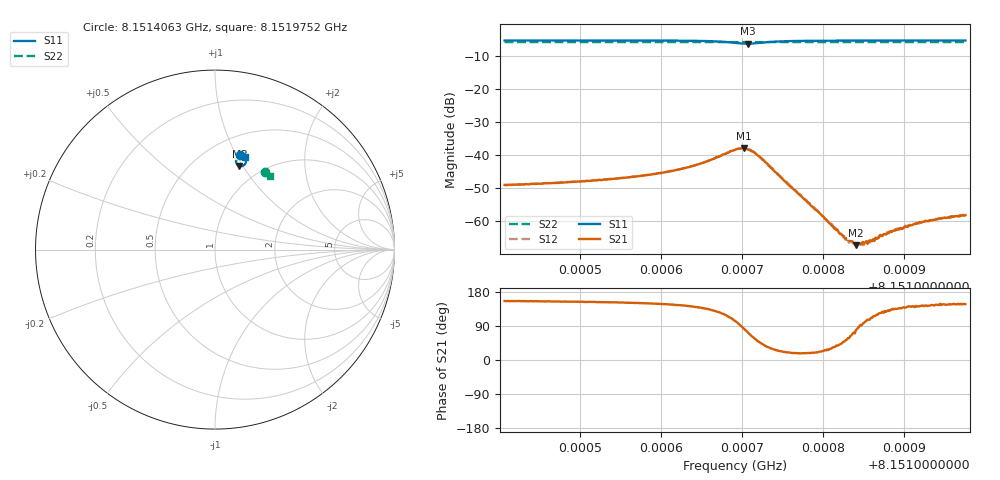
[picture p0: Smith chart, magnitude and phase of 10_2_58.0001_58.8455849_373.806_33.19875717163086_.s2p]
#  HZ  S  RI  R  50.00
! Rohde & Schwarz Vector Network Analyzer
! Rohde-Schwarz,ZNB20-2Port,1311601062101988,3.16
! Created: UTC 3/21/2024, 12:50:44 AM
! freq[Hz]  re:S11  im:S11  re:S21  im:S21  re:S12  im:S12  re:S22  im:S22
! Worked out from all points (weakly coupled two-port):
!   401 points, 8.1514063 GHz to 8.1519752 GHz, reference 50 ohm
!   highest |S21| = -37.86 dB at 8.1517021 GHz (marker M1); lowest = -67.2 dB at 8.1518401 GHz (marker M2)
!   lowest |S11| = -6.3 dB at 8.1517064 GHz (marker M3), VSWR 2.89, Z = 39.6 + j48.4 ohm
!   |S11| at or under -10 dB: nowhere
!   |S22| runs from -5.8 to -5.8 dB; largest |S21 - S12| = 0.00038
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8.15140632e9  0.1369 0.5265  -0.00325 0.00146  -0.0032 0.00152  0.2776 0.4329
8.15150161e9  0.1457 0.5238  -0.00361 0.00179  -0.00361 0.00187  0.2828 0.4292
8.15155708e9  0.1519 0.5216  -0.00404 0.00224  -0.00405 0.00226  0.2858 0.4272
8.1515969e9  0.1576 0.5186  -0.00457 0.00284  -0.00451 0.00289  0.2882 0.4256
8.15164099e9  0.1663 0.5109  -0.00539 0.00448  -0.00538 0.00455  0.2904 0.4235
8.15165948e9  0.1708 0.5033  -0.00575 0.00611  -0.00569 0.00617  0.2914 0.4225
8.15169077e9  0.1644 0.473  -0.00277 0.0117  -0.0028 0.012  0.2924 0.4203
8.15170215e9  0.1447 0.465  0.00177 0.0127  0.0017 0.0127  0.2919 0.42
8.15170642e9  0.1357 0.4667  0.00349 0.0117  0.00355 0.012  0.2918 0.42
8.15171495e9  0.1221 0.4771  0.00605 0.00912  0.00612 0.00924  0.2919 0.4203
8.15172348e9  0.1174 0.4905  0.00645 0.00615  0.00663 0.00624  0.2924 0.4206
8.15178606e9  0.1393 0.5202  0.00159 0.000554  0.00164 0.000523  0.2968 0.4191
8.15181309e9  0.1453 0.5211  0.000648 0.000441  0.000706 0.000435  0.2984 0.418
8.15182162e9  0.1468 0.5211  0.000469 0.000437  0.000462 0.000465  0.2988 0.4177
8.15183015e9  0.1484 0.5211  0.000284 0.000449  0.000309 0.000415  0.2994 0.4174
8.15184011e9  0.1499 0.5211  8.25e-05 0.000426  0.000106 0.000453  0.2999 0.4169
8.15184722e9  0.1509 0.5212  -1.49e-05 0.000456  -1.47e-05 0.00048  0.3004 0.4167
8.15186571e9  0.1533 0.5207  -0.000268 0.000476  -0.000264 0.000498  0.3014 0.4158
8.15188135e9  0.1553 0.5206  -0.000442 0.000546  -0.000448 0.000493  0.302 0.4154
8.15190411e9  0.1578 0.5202  -0.000642 0.000525  -0.000647 0.000571  0.3034 0.4144
8.15192545e9  0.16 0.5197  -0.000811 0.000602  -0.000806 0.000638  0.3044 0.4136
8.15197522e9  0.1644 0.5187  -0.00105 0.00067  -0.00104 0.000679  0.3071 0.4117
